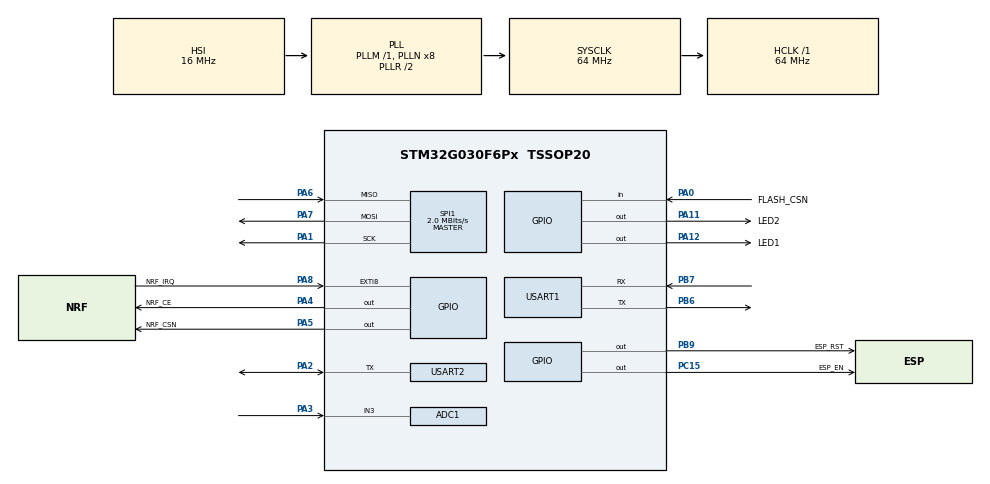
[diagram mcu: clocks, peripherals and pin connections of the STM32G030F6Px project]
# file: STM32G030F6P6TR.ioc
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ADC1.Channel-1\#ChannelRegularConversion=ADC_CHANNEL_VREFINT
ADC1.NbrOfConversion=1
ADC1.NbrOfConversionFlag=1
ADC1.Rank-1\#ChannelRegularConversion=1
ADC1.SamplingTime-1\#ChannelRegularConversion=ADC_SAMPLINGTIME_COMMON_1
ADC1.SelectedChannel=ADC_CHANNEL_3|ADC_CHANNEL_VREFINT
ADC1.master=1
Dma.Request0=USART1_RX
Dma.Request1=USART1_TX
Dma.Request2=USART2_RX
Dma.Request3=USART2_TX
Dma.USART1_RX.0.Direction=DMA_PERIPH_TO_MEMORY
Dma.USART1_RX.0.EventEnable=DISABLE
Dma.USART1_RX.0.Instance=DMA1_Channel1
Dma.USART1_RX.0.MemDataAlignment=DMA_MDATAALIGN_BYTE
Dma.USART1_RX.0.MemInc=DMA_MINC_ENABLE
Dma.USART1_RX.0.Mode=DMA_CIRCULAR
Dma.USART1_RX.0.PeriphDataAlignment=DMA_PDATAALIGN_BYTE
Dma.USART1_RX.0.PeriphInc=DMA_PINC_DISABLE
Dma.USART1_RX.0.Polarity=HAL_DMAMUX_REQ_GEN_RISING
Dma.USART1_RX.0.Priority=DMA_PRIORITY_LOW
Dma.USART1_RX.0.RequestNumber=1
Dma.USART1_RX.0.SignalID=NONE
Dma.USART1_RX.0.SyncEnable=DISABLE
Dma.USART1_RX.0.SyncPolarity=HAL_DMAMUX_SYNC_NO_EVENT
Dma.USART1_RX.0.SyncRequestNumber=1
Dma.USART1_RX.0.SyncSignalID=NONE
Dma.USART1_TX.1.Direction=DMA_MEMORY_TO_PERIPH
Dma.USART1_TX.1.EventEnable=DISABLE
Dma.USART1_TX.1.Instance=DMA1_Channel2
Dma.USART1_TX.1.MemDataAlignment=DMA_MDATAALIGN_BYTE
Dma.USART1_TX.1.MemInc=DMA_MINC_ENABLE
Dma.USART1_TX.1.Mode=DMA_NORMAL
Dma.USART1_TX.1.PeriphDataAlignment=DMA_PDATAALIGN_BYTE
Dma.USART1_TX.1.PeriphInc=DMA_PINC_DISABLE
Dma.USART1_TX.1.Polarity=HAL_DMAMUX_REQ_GEN_RISING
Dma.USART1_TX.1.Priority=DMA_PRIORITY_LOW
Dma.USART1_TX.1.RequestNumber=1
Dma.USART1_TX.1.SignalID=NONE
Dma.USART1_TX.1.SyncEnable=DISABLE
Dma.USART1_TX.1.SyncPolarity=HAL_DMAMUX_SYNC_NO_EVENT
Dma.USART1_TX.1.SyncRequestNumber=1
Dma.USART1_TX.1.SyncSignalID=NONE
Dma.USART2_RX.2.Direction=DMA_PERIPH_TO_MEMORY
Dma.USART2_RX.2.EventEnable=DISABLE
Dma.USART2_RX.2.Instance=DMA1_Channel3
Dma.USART2_RX.2.MemDataAlignment=DMA_MDATAALIGN_BYTE
Dma.USART2_RX.2.MemInc=DMA_MINC_ENABLE
Dma.USART2_RX.2.Mode=DMA_NORMAL
Dma.USART2_RX.2.PeriphDataAlignment=DMA_PDATAALIGN_BYTE
Dma.USART2_RX.2.PeriphInc=DMA_PINC_DISABLE
Dma.USART2_RX.2.Polarity=HAL_DMAMUX_REQ_GEN_RISING
Dma.USART2_RX.2.Priority=DMA_PRIORITY_LOW
Dma.USART2_RX.2.RequestNumber=1
Dma.USART2_RX.2.SignalID=NONE
Dma.USART2_RX.2.SyncEnable=DISABLE
Dma.USART2_RX.2.SyncPolarity=HAL_DMAMUX_SYNC_NO_EVENT
Dma.USART2_RX.2.SyncRequestNumber=1
Dma.USART2_RX.2.SyncSignalID=NONE
Dma.USART2_TX.3.Direction=DMA_MEMORY_TO_PERIPH
Dma.USART2_TX.3.EventEnable=DISABLE
Dma.USART2_TX.3.Instance=DMA1_Channel4
Dma.USART2_TX.3.MemDataAlignment=DMA_MDATAALIGN_BYTE
Dma.USART2_TX.3.MemInc=DMA_MINC_ENABLE
Dma.USART2_TX.3.Mode=DMA_NORMAL
Dma.USART2_TX.3.PeriphDataAlignment=DMA_PDATAALIGN_BYTE
Dma.USART2_TX.3.PeriphInc=DMA_PINC_DISABLE
Dma.USART2_TX.3.Polarity=HAL_DMAMUX_REQ_GEN_RISING
Dma.USART2_TX.3.Priority=DMA_PRIORITY_LOW
Dma.USART2_TX.3.RequestNumber=1
Dma.USART2_TX.3.SignalID=NONE
Dma.USART2_TX.3.SyncEnable=DISABLE
Dma.USART2_TX.3.SyncPolarity=HAL_DMAMUX_SYNC_NO_EVENT
Dma.USART2_TX.3.SyncRequestNumber=1
Dma.USART2_TX.3.SyncSignalID=NONE
FREERTOS.Tasks01=defaultTask,0,128,StartDefaultTask,Default,NULL,Dynamic,NULL,NULL
Mcu.Family=STM32G0
Mcu.Name=STM32G030F6Px
Mcu.Package=TSSOP20
NVIC.DMA1_Ch4_5_DMAMUX1_OVR_IRQn=true\:3\:0\:false\:false\:true\:true\:false\:true\:true
NVIC.DMA1_Channel1_IRQn=true\:3\:0\:false\:false\:true\:true\:false\:true\:true
NVIC.DMA1_Channel2_3_IRQn=true\:3\:0\:false\:false\:true\:true\:false\:true\:true
NVIC.EXTI4_15_IRQn=true\:3\:0\:false\:false\:true\:true\:true\:true\:true
NVIC.TIM14_IRQn=true\:3\:0\:false\:false\:true\:false\:false\:true\:true
NVIC.TIM3_IRQn=true\:3\:0\:false\:false\:true\:true\:true\:true\:true
NVIC.TimeBase=TIM14_IRQn
NVIC.TimeBaseIP=TIM14
NVIC.USART1_IRQn=true\:3\:0\:false\:false\:true\:true\:true\:true\:true
PA0.GPIO_Label=FLASH_CSN
PA0.Signal=GPIO_Input
PA1.Mode=Full_Duplex_Master
PA1.Signal=SPI1_SCK
PA11\ [PA9].GPIO_Label=LED2
PA11\ [PA9].Signal=GPIO_Output
PA12\ [PA10].GPIO_Label=LED1
PA12\ [PA10].Signal=GPIO_Output
PA13.Mode=Serial_Wire
PA13.Signal=SYS_SWDIO
PA14-BOOT0.Mode=Serial_Wire
PA14-BOOT0.Signal=SYS_SWCLK
PA14-BOOT0__PA15.StandardMode=true
PA2.Mode=Half_duplex(single_wire_mode)
PA2.Signal=USART2_TX
PA3.Mode=IN3
PA3.Signal=ADC1_IN3
PA4.GPIO_Label=NRF_CE
PA4.Signal=GPIO_Output
PA5.GPIO_Label=NRF_CSN
PA5.Signal=GPIO_Output
PA6.Mode=Full_Duplex_Master
PA6.Signal=SPI1_MISO
PA7.Mode=Full_Duplex_Master
PA7.Signal=SPI1_MOSI
PA8.GPIO_Label=NRF_IRQ
PA8.GPIO_ModeDefaultEXTI=GPIO_MODE_IT_FALLING
PA8.Signal=GPXTI8
PB0__PB1__PB2__PA8.StandardMode=true
PB3__PB4__PB5__PB6.StandardMode=true
PB6.Mode=Asynchronous
PB6.Signal=USART1_TX
PB7.Mode=Asynchronous
PB7.Signal=USART1_RX
PB7__PB8.StandardMode=true
PB9.GPIO_Label=ESP_RST
PB9.Signal=GPIO_Output
PC14-OSC32_IN\ (PC14)__PB9.StandardMode=true
PC15-OSC32_OUT\ (PC15).GPIO_Label=ESP_EN
PC15-OSC32_OUT\ (PC15).Signal=GPIO_Output
ProjectManager.HeapSize=0x200
ProjectManager.StackSize=0x400
ProjectManager.TargetToolchain=MDK-ARM V5.32
RCC.ADCFreq_Value=64000000
RCC.AHBFreq_Value=64000000
RCC.CortexFreq_Value=64000000
RCC.EXTERNAL_CLOCK_VALUE=12288000
RCC.HCLKFreq_Value=64000000
RCC.HSE_VALUE=8000000
RCC.HSI_VALUE=16000000
RCC.LSE_VALUE=32768
RCC.SYSCLKFreq_VALUE=64000000
RCC.SYSCLKSource=RCC_SYSCLKSOURCE_PLLCLK
RCC.VCOOutputFreq_Value=128000000
SPI1.BaudRatePrescaler=SPI_BAUDRATEPRESCALER_32
SPI1.CalculateBaudRate=2.0 MBits/s
SPI1.Direction=SPI_DIRECTION_2LINES
SPI1.Mode=SPI_MODE_MASTER
SPI1.VirtualType=VM_MASTER
TIM3.Period=500
TIM3.Prescaler=64000
USART1.VirtualMode-Asynchronous=VM_ASYNC
USART2.VirtualMode-Half_duplex(single_wire_mode)=VM_ASYNC
VP_ADC1_Vref_Input.Mode=IN-Vrefint
VP_FREERTOS_VS_CMSIS_V1.Mode=CMSIS_V1
VP_SYS_VS_tim14.Mode=TIM14
VP_TIM1_VS_ClockSourceINT.Mode=Internal
VP_TIM3_VS_ClockSourceINT.Mode=Internal
board=custom

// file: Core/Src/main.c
/* USER CODE BEGIN Header */
/**
  ******************************************************************************
  * @file           : main.c
  * @brief          : Main program body
  ******************************************************************************
  * @attention
  *
  * Copyright (c) 2023 STMicroelectronics.
  * All rights reserved.
  *
  * This software is licensed under terms that can be found in the LICENSE file
  * in the root directory of this software component.
  * If no LICENSE file comes with this software, it is provided AS-IS.
  *
  ******************************************************************************
  */
/* USER CODE END Header */
#include "main.h"
#include "cmsis_os.h"
#include "adc.h"
#include "dma.h"
#include "spi.h"
#include "tim.h"
#include "usart.h"
#include "gpio.h"

/* USER CODE BEGIN Includes */
#include "../common.h"
/* USER CODE END Includes */

void SystemClock_Config(void);
void MX_FREERTOS_Init(void);

int main(void)
{

  /* MCU Configuration--------------------------------------------------------*/

  /* Reset of all peripherals, Initializes the Flash interface and the Systick. */
  HAL_Init();

  /* Configure the system clock */
  SystemClock_Config();

  /* Initialize all configured peripherals */
  MX_GPIO_Init();
  MX_DMA_Init();
  MX_ADC1_Init();
  MX_SPI1_Init();
  MX_TIM1_Init();
  MX_USART1_UART_Init();
  MX_USART2_UART_Init();
  MX_TIM3_Init();

  /* Call init function for freertos objects (in freertos.c) */
  MX_FREERTOS_Init();

  /* Start scheduler */
  osKernelStart();

  /* We should never get here as control is now taken by the scheduler */
  /* Infinite loop */
  while (1)
  {

  }
}

void SystemClock_Config(void)
{
  RCC_OscInitTypeDef RCC_OscInitStruct = {0};
  RCC_ClkInitTypeDef RCC_ClkInitStruct = {0};

  /** Configure the main internal regulator output voltage
  */
  HAL_PWREx_ControlVoltageScaling(PWR_REGULATOR_VOLTAGE_SCALE1);

  /** Initializes the RCC Oscillators according to the specified parameters
  * in the RCC_OscInitTypeDef structure.
  */
  RCC_OscInitStruct.OscillatorType = RCC_OSCILLATORTYPE_HSI;
  RCC_OscInitStruct.HSIState = RCC_HSI_ON;
  RCC_OscInitStruct.HSIDiv = RCC_HSI_DIV1;
  RCC_OscInitStruct.HSICalibrationValue = RCC_HSICALIBRATION_DEFAULT;
  RCC_OscInitStruct.PLL.PLLState = RCC_PLL_ON;
  RCC_OscInitStruct.PLL.PLLSource = RCC_PLLSOURCE_HSI;
  RCC_OscInitStruct.PLL.PLLM = RCC_PLLM_DIV1;
  RCC_OscInitStruct.PLL.PLLN = 8;
  RCC_OscInitStruct.PLL.PLLP = RCC_PLLP_DIV2;
  RCC_OscInitStruct.PLL.PLLR = RCC_PLLR_DIV2;
  if (HAL_RCC_OscConfig(&RCC_OscInitStruct) != HAL_OK)
  {
    Error_Handler();
  }

  /** Initializes the CPU, AHB and APB buses clocks
  */
  RCC_ClkInitStruct.ClockType = RCC_CLOCKTYPE_HCLK|RCC_CLOCKTYPE_SYSCLK
                              |RCC_CLOCKTYPE_PCLK1;
  RCC_ClkInitStruct.SYSCLKSource = RCC_SYSCLKSOURCE_PLLCLK;
  RCC_ClkInitStruct.AHBCLKDivider = RCC_SYSCLK_DIV1;
  RCC_ClkInitStruct.APB1CLKDivider = RCC_HCLK_DIV1;

  if (HAL_RCC_ClockConfig(&RCC_ClkInitStruct, FLASH_LATENCY_2) != HAL_OK)
  {
    Error_Handler();
  }
}

void HAL_TIM_PeriodElapsedCallback(TIM_HandleTypeDef *htim)
{
  if (htim->Instance == TIM14) {
    HAL_IncTick();
  }
  /* USER CODE BEGIN Callback 1 */
	if (htim->Instance == TIM1) {
  }
	if (htim->Instance == TIM3) {
		led_tim_callback();
		send_mqtt_heart_isr();
  }
  /* USER CODE END Callback 1 */
}

void Error_Handler(void)
{
  __disable_irq();
  while (1)
  {
  }
}

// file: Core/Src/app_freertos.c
/* USER CODE BEGIN Header */
/**
  ******************************************************************************
  * File Name          : app_freertos.c
  * Description        : Code for freertos applications
  ******************************************************************************
  * @attention
  *
  * Copyright (c) 2023 STMicroelectronics.
  * All rights reserved.
  *
  * This software is licensed under terms that can be found in the LICENSE file
  * in the root directory of this software component.
  * If no LICENSE file comes with this software, it is provided AS-IS.
  *
  ******************************************************************************
  */
/* USER CODE END Header */

#include "FreeRTOS.h"
#include "task.h"
#include "main.h"
#include "cmsis_os.h"

/* USER CODE BEGIN Includes */
#include "../common.h"
/* USER CODE END Includes */

/* USER CODE BEGIN Variables */
osThreadId debugTaskHandle;
TaskHandle_t wifi_control_taskHandle;
TaskHandle_t nrf_control_taskHandle;

TaskHandle_t wifi_tcp_connect_taskHandle;
/* USER CODE END Variables */
osThreadId defaultTaskHandle;

/* USER CODE BEGIN FunctionPrototypes */
#ifdef DEBUG_ENABLE
void debugTaskFun(void const * argument);
#endif
void wifi_control_task_fun(void const * argument);
void wifi_tcp_connect_task_fun(void const * argument);
void nrf_control_task_fun(void const * argument);
/* USER CODE END FunctionPrototypes */

void StartDefaultTask(void const * argument);

void MX_FREERTOS_Init(void); /* (MISRA C 2004 rule 8.1) */

void MX_FREERTOS_Init(void) {

  /* Create the thread(s) */
  /* definition and creation of defaultTask */
  osThreadDef(defaultTask, StartDefaultTask, osPriorityNormal, 0, 128);
  defaultTaskHandle = osThreadCreate(osThread(defaultTask), NULL);

  /* USER CODE BEGIN RTOS_THREADS */
  /* add threads, ... */
#ifdef DEBUG_ENABLE
	osThreadDef(debugTask, debugTaskFun, osPriorityNormal, 0, debugTaskSize);
  debugTaskHandle = osThreadCreate(osThread(debugTask), NULL);
#endif
	osThreadDef(wifi_control_task, wifi_control_task_fun, osPriorityNormal, 0, wifi_control_taskSize);
  wifi_control_taskHandle = osThreadCreate(osThread(wifi_control_task), NULL);

	osThreadDef(nrf_control_task, nrf_control_task_fun, osPriorityNormal, 0, nrf_control_taskSize);
  nrf_control_taskHandle = osThreadCreate(osThread(nrf_control_task), NULL);

	osThreadDef(wifi_tcp_connect_task, wifi_tcp_connect_task_fun, osPriorityNormal, 0, wifi_tcp_connect_taskSize);
  wifi_tcp_connect_taskHandle = osThreadCreate(osThread(wifi_tcp_connect_task), NULL);
  /* USER CODE END RTOS_THREADS */

}

void StartDefaultTask(void const * argument)
{
  /* USER CODE BEGIN StartDefaultTask */
  /* Infinite loop */
  for(;;)
  {
#ifdef WIFIDEBUG//烧录固件
		HAL_GPIO_WritePin( ESP_EN_GPIO_Port, ESP_EN_Pin, GPIO_PIN_SET );
		HAL_GPIO_WritePin( ESP_RST_GPIO_Port, ESP_RST_Pin, GPIO_PIN_RESET );
		vTaskDelay( 500 );
		HAL_GPIO_WritePin( ESP_RST_GPIO_Port, ESP_RST_Pin, GPIO_PIN_SET );
		vTaskDelay( 2000 );
#else
		read_data_from_flash();
		led_init();
	#ifdef DEBUG_ENABLE
		debug_init();
	#endif
		HAL_TIM_Base_Start_IT( &htim3 );
		HAL_TIM_Base_Start( &htim3 );
//		led_nrf_flicker_on();
//		led_con_flicker_on();

//		xTaskNotify( wifi_control_taskHandle, 1U<<WIFI_DEVICE_RESET, eSetBits );
//		vTaskDelay(1200);
//		xTaskNotify( wifi_control_taskHandle, 1U<<WIFI_STATION_MODE_INIT, eSetBits );
//		vTaskDelay(1000);

		xTaskNotify( nrf_control_taskHandle, 1U<<NRF_INIT_EVENT, eSetBits );
		vTaskDelay(500);

#endif
		printf("init ok\r\n");

		vTaskDelete( defaultTaskHandle );
  }
  /* USER CODE END StartDefaultTask */
}

/* USER CODE BEGIN Application */
/*--------------- DEBUG ----------------*/
#ifdef DEBUG_ENABLE
void debugTaskFun(void const * argument) {
	uint32_t newBits, oldBits = 0;
	xTaskNotify( debugTaskHandle, 1U<<DEBUG_SEND_OK, eSetBits );
  for(;;) {
		xTaskNotifyWait( pdFALSE, ~(1U<<DEBUG_SEND_OK), &newBits, portMAX_DELAY );
		oldBits |= newBits;
		if ( oldBits & (1U<<DEBUG_PARSE_DATA) ) {
			oldBits &=~ (1U<<DEBUG_PARSE_DATA);
			debug_parse_data_fun();
		}
  }
}
#endif
/*--------------- DEBUG ----------------*/

/*--------------- WIFI ----------------*/
void wifi_control_task_fun(void const * argument) {
	uint32_t newBits, oldBits = 0;
  for(;;) {
		xTaskNotifyWait( pdFALSE, portMAX_DELAY, &newBits, portMAX_DELAY );
		oldBits |= newBits;
//		if ( oldBits & (1U<<WIFI_DEVICE_RESET) ) {
//			oldBits &=~ (1U<<WIFI_DEVICE_RESET);
//			wifi_reset();
//		}
//		if ( oldBits & (1U<<WIFI_UART_IDLE_CALLBACK) ) {
//			oldBits &=~ (1U<<WIFI_UART_IDLE_CALLBACK);
//			wifi_uart_idle_callback();
//		}
//		if ( oldBits & (1U<<WIFI_STATION_MODE_INIT) ) {
//			oldBits &=~ (1U<<WIFI_STATION_MODE_INIT);
//			station_mode_init();
//		}
//		if ( oldBits & (1U<<WIFI_STA_AP_MODE_INIT) ) {
//			oldBits &=~ (1U<<WIFI_STA_AP_MODE_INIT);
//			station_and_ap_init();
//		}
//		if ( oldBits & (1U<<WIFI_SEND_HEART) ) {
//			oldBits &=~ (1U<<WIFI_SEND_HEART);
//			send_mqtt_heart();
//		}
  }
}
void wifi_tcp_connect_task_fun(void const * argument) {
	uint32_t newBits, oldBits = 0;
  for(;;) {
		xTaskNotifyWait( pdFALSE, portMAX_DELAY, &newBits, 1000 );
		xTaskNotify(nrf_control_taskHandle, 1U<<NRF_TX_EVENT, eSetBits);
		for ( ;; ) {
			vTaskDelay(10);
			xTaskNotify(nrf_control_taskHandle, 1U<<NRF_TX_EVENT, eSetBits);
		}

		//xTaskNotifyWait( pdFALSE, portMAX_DELAY, &newBits, 10000 );
		//xTaskNotifyWait( pdFALSE, portMAX_DELAY, &newBits, 800 );
		//nrf_send_data();

		//printf("\r\n------ 单个任务堆栈的历史最小内存 总大小 / 历史最小内存 start ------\r\n");
//		printf("\r\n--- all / min \r\n");
//		if ( wifi_control_taskHandle != NULL ) printf("%d / %ld   wifi_control\r\n", wifi_control_taskSize, uxTaskGetStackHighWaterMark(wifi_control_taskHandle) );
//		if ( wifi_tcp_connect_taskHandle != NULL ) printf("%d / %ld  wifi_tcp_connect\r\n", wifi_tcp_connect_taskSize ,uxTaskGetStackHighWaterMark(wifi_tcp_connect_taskHandle));
//		printf("内存剩余：%d Byte 历史最小剩：%d Byte\r\n", xPortGetFreeHeapSize(), xPortGetMinimumEverFreeHeapSize());
//		printf("------ end ------\r\n");

  }
}
/*--------------- WIFI ----------------*/

/*--------------- NRF24 ----------------*/
void nrf_control_task_fun(void const * argument) {
	uint32_t newBits, i, t_start, t_end, oldBits = 0;
	uint8_t sta;
  for(;;) {
		//xTaskNotifyWait( pdFALSE, ~(1U<<DEBUG_SEND_OK), &newBits, portMAX_DELAY );
		xTaskNotifyWait( pdFALSE, portMAX_DELAY, &newBits, portMAX_DELAY );
		oldBits |= newBits;
		if ( oldBits & (1U<<NRF_INIT_EVENT) ) {
			oldBits &=~ (1U<<NRF_INIT_EVENT);
			nrf_init();
		}
		if ( oldBits & (1U<<NRF_TX_EVENT) ) {
			oldBits &=~ (1U<<NRF_TX_EVENT);
			//printf("...tx\r\n");
			HAL_NVIC_DisableIRQ(NRF_IRQ_EXTI_IRQn);
			Tx_Mode();
			nrf_send_data();
			t_start = HAL_GetTick();
			for ( i=0; i<0xFF; i++ ) {
				sta = SPI_RW_Reg( NRF_READ_REG + STATUS, NOP );
				if ( !(sta&0x01) ) { /*printf( "数据通道为空,i计数次数:%d\r\n", i );*/break; }
			}
			t_end = HAL_GetTick();
			if ( i==0xFF ) {
				printf("应答超时 清空发送缓存\r\n");
			}

			//printf("tx time: %d\r\n", t_end-t_start);
			Rx_Mode();
			taskENTER_CRITICAL();
			SPI_RW_Reg( NRF_WRITE_REG + STATUS, 0xF0 );
			SPI_RW_Reg( FLUSH_RX,NOP );
			SPI_RW_Reg( FLUSH_TX,NOP );
			Rx_Mode();
			taskEXIT_CRITICAL();
			__HAL_GPIO_EXTI_CLEAR_IT(NRF_IRQ_Pin);
			HAL_NVIC_EnableIRQ(NRF_IRQ_EXTI_IRQn);

		}
		if ( oldBits & (1U<<NRF_RX_EVENT) ) {
			oldBits &=~ (1U<<NRF_RX_EVENT);
			//printf("...rx\r\n");
			nrf_receive_data();

//			nrf1_receive_data();
//			vTaskDelay(500);
//			HAL_NVIC_DisableIRQ(EXTI4_IRQn);
//			Tx_Mode(&hspi1);
//			nrf1_send_data();
//			for ( i=10; i>0; i-- ) {
//				sta = SPI_RW_Reg( NRF_READ_REG + STATUS, NOP, &hspi1 );
//				//已发送
//				if ( !(sta & 0x01) ) break;
//				vTaskDelay(1);
//			}
//			//无应答,清空缓存
//			if ( i == 0 ) { SPI_RW_Reg( FLUSH_RX,NOP, &hspi1 );}
//
//			Rx_Mode(&hspi1);
//			sta = SPI_RW_Reg( NRF_READ_REG + STATUS, NOP, &hspi1 );
//			SPI_RW_Reg( NRF_WRITE_REG + STATUS, sta, &hspi1 );
//			__HAL_GPIO_EXTI_CLEAR_IT(SPI1_IRQ_Pin);
//			HAL_NVIC_EnableIRQ(EXTI4_IRQn);
		}
		if ( oldBits & (1U<<NRF_PARSE_DATA) ) {
			oldBits &=~ (1U<<NRF_PARSE_DATA);
			nrf_parse_data();
		}

  }
}
/*--------------- NRF24 ----------------*/

/* USER CODE END Application */
